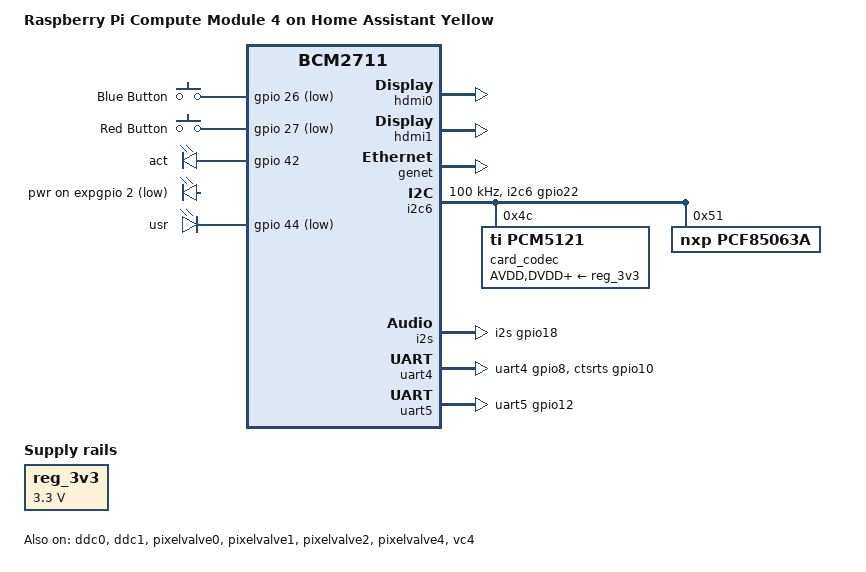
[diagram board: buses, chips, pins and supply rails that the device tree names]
// SPDX-License-Identifier: GPL-2.0
/dts-v1/;
#include "bcm2711-rpi-cm4.dtsi"
#include "bcm283x-rpi-usb-host.dtsi"

#include <dt-bindings/input/input.h>
/ {
	compatible = "raspberrypi,4-compute-module-ha-yellow", "raspberrypi,4-compute-module", "brcm,bcm2711";
	model = "Raspberry Pi Compute Module 4 on Home Assistant Yellow";

	aliases {
		serial1 = &uart4;
		serial2 = &uart5;
	};

	chosen {
		stdout-path = "serial2:115200n8";
	};

	keys: gpio-keys {
		compatible = "gpio-keys";

		pinctrl-names = "default";
		pinctrl-0 = <&gpio_button_pins>;

		status = "okay";

		power {
			label = "Blue Button";
			linux,code = <KEY_POWER>;
			gpios = <&gpio 26 GPIO_ACTIVE_LOW>;
			debounce-interval = <100>; // ms
		};

		user {
			label = "Red Button";
			linux,code = <BTN_1>;
			gpios = <&gpio 27 GPIO_ACTIVE_LOW>;
			debounce-interval = <100>; // ms
		};
	};

	leds {
		compatible = "gpio-leds";

		led_act: led-act {
			label = "act";
			default-state = "off";
			linux,default-trigger = "activity";
			gpios = <&gpio 42 GPIO_ACTIVE_HIGH>;
		};

		led_pwr: led-pwr {
			label = "pwr";
			default-state = "keep";
			linux,default-trigger = "default-on";
			gpios = <&expgpio 2 GPIO_ACTIVE_LOW>;
		};

		led_usr: led-usr {
			label = "usr";
			linux,default-trigger = "heartbeat";
			default-state = "off";
			panic-indicator;
			gpios = <&gpio 44 GPIO_ACTIVE_LOW>;
		};
	};

	reg_3v3: regulator {
		compatible = "regulator-fixed";

		regulator-name = "3v3-supply";
		regulator-min-microvolt = <3300000>;
		regulator-max-microvolt = <3300000>;
	};

	sound {
		compatible = "simple-audio-card";
		simple-audio-card,format = "i2s";
		simple-audio-card,name = "pcm5121-sound";
		status = "okay";

		simple-audio-card,cpu {
			sound-dai = <&i2s>;
		};

		dailink0_slave: simple-audio-card,codec {
			sound-dai = <&card_codec>;
		};
	};
};

&ddc0 {
	status = "okay";
};

&ddc1 {
	status = "okay";
};

&gpio {
	/*
	 * Parts taken from rpi_SCH_4b_4p0_reduced.pdf and
	 * the official GPU firmware DT blob.
	 *
	 * Legend:
	 * "FOO" = GPIO line named "FOO" on the schematic
	 * "FOO_N" = GPIO line named "FOO" on schematic, active low
	 */
	gpio-line-names = "ID_SDA",
			  "ID_SCL",
			  "SDA1",
			  "SCL1",
			  "GPIO_GCLK",
			  "GPIO5",
			  "GPIO6",
			  "SPI_CE1_N",
			  "SPI_CE0_N",
			  "SPI_MISO",
			  "SPI_MOSI",
			  "SPI_SCLK",
			  "GPIO12",
			  "GPIO13",
			  /* Serial port */
			  "TXD1",
			  "RXD1",
			  "GPIO16",
			  "GPIO17",
			  "GPIO18",
			  "GPIO19",
			  "GPIO20",
			  "GPIO21",
			  "GPIO22",
			  "GPIO23",
			  "GPIO24",
			  "GPIO25",
			  "GPIO26",
			  "GPIO27",
			  "RGMII_MDIO",
			  "RGMIO_MDC",
			  /* Used by BT module */
			  "CTS0",
			  "RTS0",
			  "TXD0",
			  "RXD0",
			  /* Used by Wifi */
			  "SD1_CLK",
			  "SD1_CMD",
			  "SD1_DATA0",
			  "SD1_DATA1",
			  "SD1_DATA2",
			  "SD1_DATA3",
			  /* Shared with SPI flash */
			  "PWM0_MISO",
			  "PWM1_MOSI",
			  "STATUS_LED_G_CLK",
			  "SPIFLASH_CE_N",
			  "SDA0",
			  "SCL0",
			  "RGMII_RXCLK",
			  "RGMII_RXCTL",
			  "RGMII_RXD0",
			  "RGMII_RXD1",
			  "RGMII_RXD2",
			  "RGMII_RXD3",
			  "RGMII_TXCLK",
			  "RGMII_TXCTL",
			  "RGMII_TXD0",
			  "RGMII_TXD1",
			  "RGMII_TXD2",
			  "RGMII_TXD3";

	gpio_button_pins: gpio_button_pins {
		pin-power {
			function = "gpio_in";
			pins = "gpio26";
			bias-pull-up;
		};
		pin-user {
			function = "gpio_in";
			pins = "gpio27";
			bias-pull-up;
		};
	};

	i2s_gpio18: i2s-gpio18 {
		pin-pcm-clk {
			function = "alt0";
			pins = "gpio18";
			bias-disable;
		};
		pin-pcm-fs {
			function = "alt0";
			pins = "gpio19";
			bias-disable;
		};
		pin-pcm-din {
			function = "alt0";
			pins = "gpio20";
			bias-disable;
		};
		pin-pcm-dout {
			function = "alt0";
			pins = "gpio21";
			bias-disable;
		};
	};
};

&hdmi0 {
	status = "okay";
};

&hdmi1 {
	status = "okay";
};

&genet {
	status = "okay";
};

&i2c6 {
	pinctrl-names = "default";
	pinctrl-0 = <&i2c6_gpio22>;
	status = "okay";
	clock-frequency = <100000>;

	card_codec: pcm5121@4c {
		#sound-dai-cells = <0>;
		compatible = "ti,pcm5121";
		reg = <0x4c>;
		AVDD-supply = <&reg_3v3>;
		DVDD-supply = <&reg_3v3>;
		CPVDD-supply = <&reg_3v3>;
		status = "okay";
	};

	pcf85063a: rtc@51 {
		compatible = "nxp,pcf85063a";
		reg = <0x51>;
	};
};

&i2s {
	#sound-dai-cells = <0>;
	pinctrl-names = "default";
	pinctrl-0 = <&i2s_gpio18>;
	status = "okay";
};

&pixelvalve0 {
	status = "okay";
};

&pixelvalve1 {
	status = "okay";
};

&pixelvalve2 {
	status = "okay";
};

&pixelvalve4 {
	status = "okay";
};

/* uart4 for Zigbee */
&uart4 {
	pinctrl-names = "default";
	pinctrl-0 = <&uart4_gpio8 &uart4_ctsrts_gpio10>;
	uart-has-rtscts;
	status = "okay";
};

/* uart5 default Debug UART */
&uart5 {
	pinctrl-names = "default";
	pinctrl-0 = <&uart5_gpio12>;
	status = "okay";
};

&vc4 {
	status = "okay";
};

&vec {
	status = "disabled";
};
